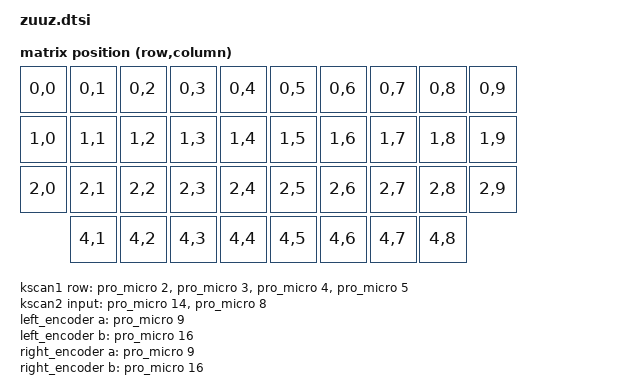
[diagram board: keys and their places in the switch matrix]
/*
 * Copyright (c) 2020 The ZMK Contributors
 *
 * SPDX-License-Identifier: MIT
 */

#include <dt-bindings/zmk/matrix_transform.h>

/ {

    chosen {
        zmk,kscan = &kscan0;
        zmk,matrix_transform = &default_transform;
    };
	 
    default_transform: keymap_transform_0 {
        compatible = "zmk,matrix-transform";
        rows = <7>;
        columns = <12>;

        map = <
RC(0,0) RC(0,1) RC(0,2) RC(0,3) RC(0,4)   RC(0,5) RC(0,6) RC(0,7) RC(0,8) RC(0,9) 
RC(1,0) RC(1,1) RC(1,2) RC(1,3) RC(1,4)   RC(1,5) RC(1,6) RC(1,7) RC(1,8) RC(1,9) 
RC(2,0) RC(2,1) RC(2,2) RC(2,3) RC(2,4)   RC(2,5) RC(2,6) RC(2,7) RC(2,8) RC(2,9) 

        RC(4,1) RC(4,2) RC(4,3) RC(4,4)  RC(4,5) RC(4,6) RC(4,7) RC(4,8)  			 
								 
        >;

        // Include the matrix driver 
        matrix {
            kscan = <&kscan1>;
        };

        // Include the direct GPIO driver...
        direct {
            kscan = <&kscan2>;
            row-offset = <4>; // ...and shift it to not overlap
        };
    };
 
    kscan0: kscan_composite  {
        compatible = "zmk,kscan-composite";
        columns = <10>;
        rows = <5>;

        // Include the matrix driver
        matrix {
            kscan = <&kscan1>;
        };

        // Include the direct GPIO driver...
        direct {
            kscan = <&kscan2>;
            row-offset = <6>; // ...and shift it to not overlap
        };
	};

    kscan1: kscan_matrix  {
        compatible = "zmk,kscan-gpio-matrix";
		
		diode-direction = "col2row";
		
		row-gpios
        = <&pro_micro 2 (GPIO_ACTIVE_HIGH | GPIO_PULL_DOWN)> // Row A from the schematic file
            , <&pro_micro 3 (GPIO_ACTIVE_HIGH | GPIO_PULL_DOWN)>
            , <&pro_micro 4 (GPIO_ACTIVE_HIGH | GPIO_PULL_DOWN)>
            , <&pro_micro 5 (GPIO_ACTIVE_HIGH | GPIO_PULL_DOWN)>
			;
    };

    kscan2: kscan_direct {
        compatible = "zmk,kscan-gpio-direct";
        input-gpios
        = <&pro_micro 14 (GPIO_ACTIVE_LOW | GPIO_PULL_UP)>
        , <&pro_micro 8  (GPIO_ACTIVE_LOW | GPIO_PULL_UP)>
	   ;
	};

	
  left_encoder: left_encoder {
        compatible = "alps,ec11";
		steps = <20>;
        status = "disabled";
        a-gpios = <&pro_micro 9 GPIO_PULL_UP>;
        b-gpios = <&pro_micro 16 GPIO_PULL_UP>;
    };

    right_encoder: right_encoder {
        compatible = "alps,ec11";
		steps = <20>;
        status = "disabled";
        a-gpios = <&pro_micro 9 GPIO_PULL_UP>;
        b-gpios = <&pro_micro 16 GPIO_PULL_UP>;
    };

    sensors {
        compatible = "zmk,keymap-sensors";
        sensors = <&left_encoder &right_encoder>;
    };
};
